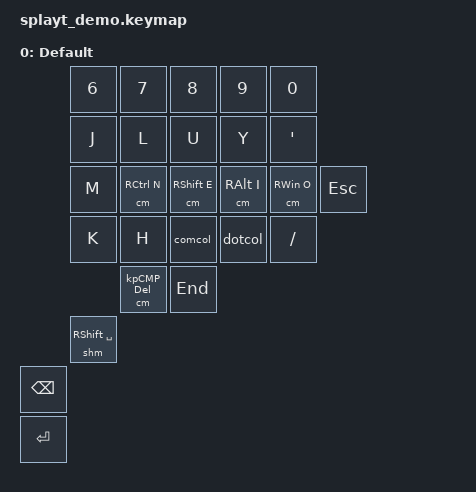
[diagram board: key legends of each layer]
/*
 * Copyright (c) 2021 Tom Butcher
 *
 * SPDX-License-Identifier: MIT
 */

 // standard build command: west build -b adafruit_feather_nrf52840 -- -DSHIELD=space_invader

 /* ********* TO DO *************
	* Once unicode works, create macros that change the layer and send the appropriate F key
	  (for helper image) at the same time.
 */

#include <behaviors.dtsi>
#include <dt-bindings/zmk/keys.h>
#include <dt-bindings/zmk/bt.h>
#include <dt-bindings/zmk/outputs.h>
#include <dt-bindings/zmk/ext_power.h>

// Layer Defs
#define DEF		0
#define DEF_NM	1
#define QWERTY	2
#define QWER_NM	3
#define NUM		4
#define LNUM	5
#define SYM		6
#define NAV		7
#define MOUSE	8
#define FN		9	
#define EMOJI	10	// Reserved for future use 
#define CMP		11	// Reserved for future use
#define STAY	12

// Mouse Key defs--For use until AHK can be ditched
#define WH_DN	(F16)
#define WH_UP	(F17)
// #define WH_L	(KP_N7)
// #define WH_R	(KP_N9)
// #define M_UP	(KP_N8)
// #define M_DN	(KP_N5)
// #define M_L		(KP_N4)
// #define M_R		(KP_N6)
// #define M_UP_SL	(LC(LG(LA(M_UP))))		// These move the mouse slowly
// #define M_DN_SL	(LC(LG(LA(M_DN))))
// #define M_R_SL	(LC(LG(LA(M_R))))
// #define M_L_SL	(LC(LG(LA(M_L))))
// #define M_MB	(KP_DIVIDE)
// #define M_LB	(KP_MINUS)
// #define M_RB	(KP_MULTIPLY)

// F Key subs (use with AHK)
#define KP_PLS	(F18)
#define KP_COM	(F19)
#define KP_SMC	(F20)
#define KP_EMJ	(F21)
#define KP_CMP	(F23)
#define KP_SLP	(LG(LA(LS(LC(APOS)))))

// Other defs
#define xxx		&none	
#define ___		&trans
#define HYPER	(LG(LA(LS(LCTRL))))		  // If I want to send a hypered key, then I might need to make a custom behavior
// #define HYPER	(LG(LA(LS(LCTRL))))   // Maybe try to make a custom mod kp?

// #include <../boards/shields/splayt_demo/key_positions.h>
#include <../boards/shields/splayt_demo/mouse.dtsi>
#include <../boards/shields/splayt_demo/helper.h>
#include <../boards/shields/splayt_demo/behaviors.dtsi>
// #include <../boards/shields/splayt_demo/combos.dtsi>

&mt { quick_tap_ms = <200>; };
&lt { quick_tap_ms = <200>; };

/ {
	conditional_layers {
        compatible = "zmk,conditional-layers";
        tri_layer {
            if-layers = <1 2>;
            then-layer = <3>;
        };
    };

	keymap {
		compatible = "zmk,keymap";

							// -------------------------------------------------TEMPLATE-------------------------------------------------
							// |      |      |      |      |      |                                  |      |      |      |      |      |
							// |      |      |      |      |      |                                  |      |      |      |      |      |
							// |      |      |      |      |      |             |      |             |      |      |      |      |      |
							// |      |------|      |      |      |      |      	          |      |      |      |      |------|      |
							// |----------------------------------|      |      |      |      |      |----------------------------------|
							// ----------------------------------------------------------------------------------------------------------

//------------------------------------------------------------------------------EMPTY TEMPLATE-----------------------------------------------------------------------------
//╭─────────────┬─────────────┬─────────────┬─────────────┬─────────────╮	 		  			    ╭─────────────┬─────────────┬─────────────┬─────────────┬─────────────╮

//├─────────────┼─────────────┼─────────────┼─────────────┼─────────────┤	 					    ├─────────────┼─────────────┼─────────────┼─────────────┼─────────────┤

//├─────────────┼─────────────┼─────────────┼─────────────┼─────────────┤	   ╭─────────────╮      ├─────────────┼─────────────┼─────────────┼─────────────┼─────────────┤

//├─────────────┴───┬─────────┼─────────────┼─────────────┼─────────────┼──────╰──────╮──────╯──────┼─────────────┼─────────────┼─────────────┼─────────┬───┴─────────────┤

//╰─────────────────╯		  ╰─────────────┴─────────────┴─────────────┴─────────────╯─────────────┴─────────────┴─────────────┴─────────────╯	   		╰─────────────────╯
//																		  		 ╭─────────╮

//																	   ╭─────────┼─────────┼─────────╮

//																	   ╰─────────┼─────────┼─────────╯

//																				 ╰─────────╯



		default_layer { 
			label = "Default";
			bindings = <
		//----------------------------------------------COLEMAK----------------------------------------------
		//				╭─────────────┬─────────────┬─────────────┬─────────────┬─────────────╮
          				  &kp N6		&kp N7		  &kp N8		&kp N9		  &kp N0		
        //				├─────────────┼─────────────┼─────────────┼─────────────┼─────────────┤
          				  &kp J			&kp L		  &kp U			&kp Y		  &kp APOS	  
        //				├─────────────┼─────────────┼─────────────┼─────────────┼─────────────┤─────────────╮
          				  &kp M			&cm RCTRL N	  &cm RSHFT E	&cm RALT I	  &cm RWIN O    &kp ESC		// &lt FN ESC  
        //				├─────────────┼─────────────┼─────────────┼─────────────┼─────────────┤─────────────┤
          				  &kp K			&kp H		  &comcol		&dotcol		  &kp SLASH		// Capacitive?
        //				╰─────────╭───┴─────────┬───┴─────────╮───┴─────────────┴─────────────┴─────────────╯
							    	&cm KP_CMP DEL &kp END 		// &lt SYM END
		//			╭─────────────┼─────────────┴─────────────╯	
  		  			  &shm RSHFT SPACE 
		//	  ╭─────╰───────╮─────╯											  
 			    &kp BSPC		// &lt NUM BSPC  
		//	  ├─────────────┤
				&kp RET
		//	  ╰─────────────╯												  
       		>;
		};

	};
};
